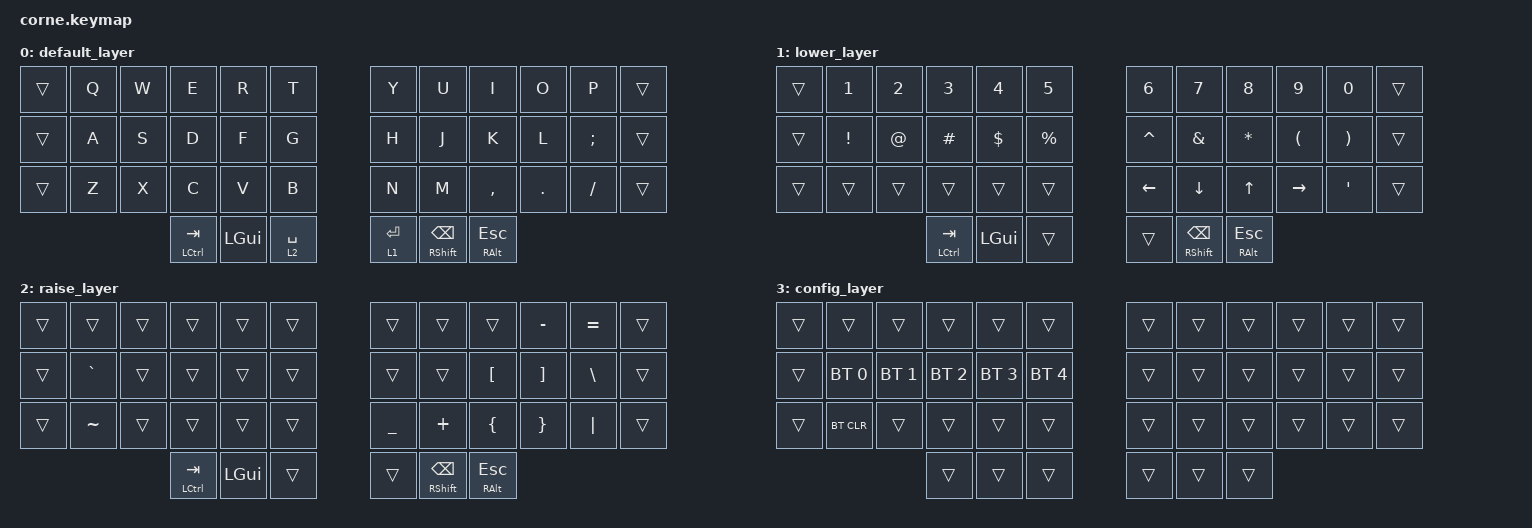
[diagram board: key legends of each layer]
/*
 * Copyright (c) 2020 The ZMK Contributors
 *
 * SPDX-License-Identifier: MIT
 */

#include <behaviors.dtsi>
#include <dt-bindings/zmk/keys.h>
#include <dt-bindings/zmk/bt.h>

/ {
        combos {
           compatible = "zmk,combos";
           combo_capslock {
               timeout-ms = <50>;
               // keys = <ZMK_KEY_LCTRL ZMK_KEY_LALT ZMK_KEY_C>;
               // action = <ZMK_MOD_LCTL ZMK_MOD_LALT ZMK_MOD_C>;
               // key-positions = <1 2>; // Q and W cuz index 0 is empty
               key-positions = <2 9>; // W and O
               bindings = <&kp CAPSLOCK>;
           };

           config_layer_combo {
               timeout-ms = <50>;
               key-positions = <36 37 38>; // S and J
               bindings = <&mo 3>; // layer "id"
           };
        };

        keymap {
                compatible = "zmk,keymap";

                default_layer {
// -----------------------------------------------------------------------------------------
// |     |  Q  |  W  |  E  |  R  |  T  |        |  Y  |  U  |  I  |  O  |  P  |      |
// |     |  A  |  S  |  D  |  F  |  G  |        |  H  |  J  |  K  |  L  |  ;: |      |
// |     |  Z  |  X  |  C  |  V  |  B  |        |  N  |  M  |  ,< |  .> |  /? |      |
//       | LCTRL/TAB | GUI | LWR/SPC |          | RSE/ENT | RSHFT/BSPC | RALT/ESC |
//                  (command)                                            (option)
                        bindings = <
   &trans &kp Q &kp W &kp E &kp R &kp T           &kp Y &kp U  &kp I     &kp O   &kp P    &trans
   &trans &kp A &kp S &kp D &kp F &kp G           &kp H &kp J  &kp K     &kp L   &kp SEMI &trans
   &trans &kp Z &kp X &kp C &kp V &kp B           &kp N &kp M  &kp COMMA &kp DOT &kp FSLH &trans
      //&mt LCTRL TAB &kp LGUI &lt 1 SPACE          &lt 2 RET  &mt RSHFT BSPC  &mt RALT ESC
      &mt LCTRL TAB &kp LGUI &lt 2 SPACE          &lt 1 RET  &mt RSHFT BSPC  &mt RALT ESC
                        >;
                };

                lower_layer {
// -----------------------------------------------------------------------------------------
// |     |  1  |  2  |  3  |  4  |  5  |        |  6  |  7  |  8  |  9  |  0  |      |
// |     |  !  |  @  |  #  |  $  |  %  |        |  ^  |  &  |  *  |  (  |  )  |      |
// |     |     |     |     |     |     |        |     |     |     |     | ' " |      |
//       | LCTRL/TAB | GUI | LWR/SPC |                 | RSE/ENT | RSHFT/BSPC | RALT/ESC |
//                  (command)                                            (option)
                        bindings = <
   &trans &kp N1      &kp N2   &kp N3     &kp N4     &kp N5            &kp N6    &kp N7    &kp N8     &kp N9    &kp N0    &trans
   //&trans &bt BT_SEL 0 &bt BT_SEL 1 &bt BT_SEL 2 &bt BT_SEL 3 &bt BT_SEL 4          &kp LEFT &kp DOWN &kp UP &kp RIGHT &kp SQT     &trans
   &trans &kp EXCL    &kp AT   &kp HASH   &kp DLLR   &kp PRCNT         &kp CARET &kp AMPS  &kp ASTRK  &kp LPAR  &kp RPAR  &trans
   &trans &trans      &trans   &trans     &trans     &trans            &kp LEFT  &kp DOWN  &kp UP     &kp RIGHT &kp SQT   &trans
                               &mt LCTRL TAB &kp LGUI    &trans                &trans   &mt RSHFT BSPC  &mt RALT ESC
                        >;
                };

                raise_layer {
// -----------------------------------------------------------------------------------------
// |     |     |     |     |     |     |        |     |     |     |  -_ |  =+ |      |
// |     |  `  |     |     |     |     |        |     |     |  [  |  ]  |  \  |      |
// |     |  ~  |     |     |     |     |        |  _  |  +  |  {  |  }  | "|" |      |
//       | LCTRL/TAB | GUI | LWR/SPC |          | RSE/ENT | RSHFT/BSPC | RALT/ESC |
//                  (command)                                            (option)
                        bindings = <
   //&trans &kp EXCL   &kp AT &kp HASH &kp DLLR &kp PRCNT   &kp CARET &kp AMPS  &kp ASTRK &kp LPAR &kp RPAR &trans
   &trans &trans     &trans &trans   &trans   &trans      &trans    &trans    &trans    &kp MINUS &kp EQUAL &trans
   &trans &kp GRAVE  &trans &trans   &trans   &trans      &trans    &trans    &kp LBKT  &kp RBKT &kp BSLH   &trans
   &trans &kp TILDE  &trans &trans   &trans   &trans      &kp UNDER &kp PLUS  &kp LBRC  &kp RBRC &kp PIPE   &trans
                    &mt LCTRL TAB &kp LGUI    &trans      &trans   &mt RSHFT BSPC  &mt RALT ESC
                        >;
                };

                config_layer {
// -------------------------------------------------------------------------------------------------------------------------
// |     |          |          |          |          |          |                  |     |     |     |     |     |      |
// |     | BT_SEL 0 | BT_SEL 1 | BT_SEL 2 | BT_SEL 3 | BT_SEL 4 |                  |     |     |     |     |     |      |
// |     |  BT_CLR  |          |          |          |          |                  |     |     |     |     |     |      |
//                             |          |          |          |                  |     |     |     |
                        bindings = <
   &trans &trans       &trans       &trans       &trans       &trans                &trans &trans &trans &trans &trans &trans
   &trans &bt BT_SEL 0 &bt BT_SEL 1 &bt BT_SEL 2 &bt BT_SEL 3 &bt BT_SEL 4          &trans &trans &trans &trans &trans &trans
   &trans &bt BT_CLR   &trans       &trans       &trans       &trans                &trans &trans &trans &trans &trans &trans
                                        &trans &trans &trans                        &trans &trans &trans
                        >;
                };
        };
};
